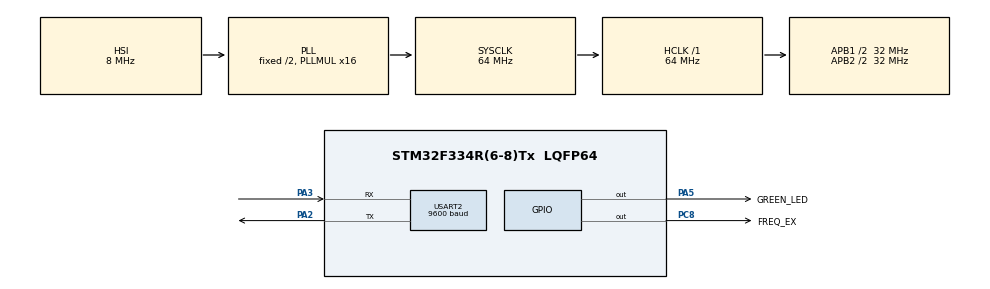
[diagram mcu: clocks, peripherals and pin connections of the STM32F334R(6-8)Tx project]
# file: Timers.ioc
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Mcu.Family=STM32F3
Mcu.Name=STM32F334R(6-8)Tx
Mcu.Package=LQFP64
NVIC.PriorityGroup=NVIC_PRIORITYGROUP_0
NVIC.TIM3_IRQn=true\:0\:0\:false\:false\:true\:true\:true\:true
PA2.Mode=Asynchronous
PA2.Signal=USART2_TX
PA3.Mode=Asynchronous
PA3.Signal=USART2_RX
PA5.GPIO_Label=GREEN_LED
PA5.Signal=GPIO_Output
PC6.Signal=S_TIM3_CH1
PC8.GPIO_Label=FREQ_EX
PC8.Signal=GPIO_Output
ProjectManager.HeapSize=0x200
ProjectManager.StackSize=0x400
ProjectManager.TargetToolchain=STM32CubeIDE
RCC.AHBFreq_Value=64000000
RCC.APB1CLKDivider=RCC_HCLK_DIV2
RCC.APB1Freq_Value=32000000
RCC.APB1TimFreq_Value=64000000
RCC.APB2CLKDivider=RCC_HCLK_DIV2
RCC.APB2Freq_Value=32000000
RCC.APB2TimFreq_Value=64000000
RCC.CortexFreq_Value=64000000
RCC.FLatency-AdvancedSettings=FLASH_LATENCY_2
RCC.HCLKFreq_Value=64000000
RCC.HSE_VALUE=8000000
RCC.HSI_VALUE=8000000
RCC.LSE_VALUE=32768
RCC.PLLMUL=RCC_PLL_MUL16
RCC.SYSCLKFreq_VALUE=64000000
RCC.SYSCLKSourceVirtual=RCC_SYSCLKSOURCE_PLLCLK
SH.S_TIM3_CH1.0=TIM3_CH1
TIM3.Channel-Output\ Compare1\ No\ Output=TIM_CHANNEL_1
TIM3.Period=31984
TIM3.Prescaler=2000
USART2.BaudRate=9600
USART2.Mode=MODE_TX_RX
USART2.OverSampling=UART_OVERSAMPLING_8
USART2.VirtualMode-Asynchronous=VM_ASYNC
VP_TIM3_VS_ClockSourceINT.Mode=Internal
VP_TIM3_VS_no_output1.Mode=Output Compare1 No Output
board=NUCLEO-F334R8

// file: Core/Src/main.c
/* USER CODE BEGIN Header */
/**
  ******************************************************************************
  * @file           : main.c
  * @brief          : Main program body
  ******************************************************************************
  * @attention
  *
  * Copyright (c) 2024 STMicroelectronics.
  * All rights reserved.
  *
  * This software is licensed under terms that can be found in the LICENSE file
  * in the root directory of this software component.
  * If no LICENSE file comes with this software, it is provided AS-IS.
  *
  ******************************************************************************
  */
/* USER CODE END Header */
#include "main.h"

/* USER CODE BEGIN Includes */
#include <stdbool.h>
/* USER CODE END Includes */

TIM_HandleTypeDef htim3;

UART_HandleTypeDef huart2;

void SystemClock_Config(void);
static void MX_GPIO_Init(void);
static void MX_USART2_UART_Init(void);
static void MX_TIM3_Init(void);

/* USER CODE BEGIN 0 */
static const char *hello_world_buffer = "B\r\n"; //01000010
static HAL_StatusTypeDef ok_notok_s = HAL_OK;
static bool flag_s = false;
/* USER CODE END 0 */

int main(void)
{

  /* MCU Configuration--------------------------------------------------------*/

  /* Reset of all peripherals, Initializes the Flash interface and the Systick. */
  HAL_Init();

  /* Configure the system clock */
  SystemClock_Config();

  /* Initialize all configured peripherals */
  MX_GPIO_Init();
  MX_USART2_UART_Init();
  MX_TIM3_Init();
  /* USER CODE BEGIN 2 */
  HAL_TIM_Base_Start_IT(&htim3);
  /* USER CODE END 2 */

  /* Infinite loop */
  while (1)
  {

    /* USER CODE BEGIN 3 */
	  // First we transmit the hello world buffer out the transmit pin of UART2.
	  if (flag_s)
	  {
		  ok_notok_s = HAL_UART_Transmit(&huart2, (uint8_t *)hello_world_buffer, 3, 100);

		  if(ok_notok_s == HAL_OK)
		  {
			  // If the UART transmission is okay then the green LED will stay off.
			  HAL_GPIO_WritePin(GREEN_LED_GPIO_Port, GREEN_LED_Pin, GPIO_PIN_RESET);
		  }
		  else
		  {
			  // If the UART transmission is not okay then the green LED will be turned on.
			  HAL_GPIO_WritePin(GREEN_LED_GPIO_Port, GREEN_LED_Pin, GPIO_PIN_SET);
		  }
		  flag_s = false;
	  }
  }
  /* USER CODE END 3 */
}

void SystemClock_Config(void)
{
  RCC_OscInitTypeDef RCC_OscInitStruct = {0};
  RCC_ClkInitTypeDef RCC_ClkInitStruct = {0};

  /** Initializes the RCC Oscillators according to the specified parameters
  * in the RCC_OscInitTypeDef structure.
  */
  RCC_OscInitStruct.OscillatorType = RCC_OSCILLATORTYPE_HSI;
  RCC_OscInitStruct.HSIState = RCC_HSI_ON;
  RCC_OscInitStruct.HSICalibrationValue = RCC_HSICALIBRATION_DEFAULT;
  RCC_OscInitStruct.PLL.PLLState = RCC_PLL_ON;
  RCC_OscInitStruct.PLL.PLLSource = RCC_PLLSOURCE_HSI;
  RCC_OscInitStruct.PLL.PLLMUL = RCC_PLL_MUL16;
  if (HAL_RCC_OscConfig(&RCC_OscInitStruct) != HAL_OK)
  {
    Error_Handler();
  }

  /** Initializes the CPU, AHB and APB buses clocks
  */
  RCC_ClkInitStruct.ClockType = RCC_CLOCKTYPE_HCLK|RCC_CLOCKTYPE_SYSCLK
                              |RCC_CLOCKTYPE_PCLK1|RCC_CLOCKTYPE_PCLK2;
  RCC_ClkInitStruct.SYSCLKSource = RCC_SYSCLKSOURCE_PLLCLK;
  RCC_ClkInitStruct.AHBCLKDivider = RCC_SYSCLK_DIV1;
  RCC_ClkInitStruct.APB1CLKDivider = RCC_HCLK_DIV2;
  RCC_ClkInitStruct.APB2CLKDivider = RCC_HCLK_DIV2;

  if (HAL_RCC_ClockConfig(&RCC_ClkInitStruct, FLASH_LATENCY_2) != HAL_OK)
  {
    Error_Handler();
  }
}

static void MX_TIM3_Init(void)
{

  TIM_ClockConfigTypeDef sClockSourceConfig = {0};
  TIM_MasterConfigTypeDef sMasterConfig = {0};
  TIM_OC_InitTypeDef sConfigOC = {0};

  htim3.Instance = TIM3;
  htim3.Init.Prescaler = 2000;
  htim3.Init.CounterMode = TIM_COUNTERMODE_UP;
  htim3.Init.Period = 31984;
  htim3.Init.ClockDivision = TIM_CLOCKDIVISION_DIV1;
  htim3.Init.AutoReloadPreload = TIM_AUTORELOAD_PRELOAD_DISABLE;
  if (HAL_TIM_Base_Init(&htim3) != HAL_OK)
  {
    Error_Handler();
  }
  sClockSourceConfig.ClockSource = TIM_CLOCKSOURCE_INTERNAL;
  if (HAL_TIM_ConfigClockSource(&htim3, &sClockSourceConfig) != HAL_OK)
  {
    Error_Handler();
  }
  if (HAL_TIM_OC_Init(&htim3) != HAL_OK)
  {
    Error_Handler();
  }
  sMasterConfig.MasterOutputTrigger = TIM_TRGO_RESET;
  sMasterConfig.MasterSlaveMode = TIM_MASTERSLAVEMODE_DISABLE;
  if (HAL_TIMEx_MasterConfigSynchronization(&htim3, &sMasterConfig) != HAL_OK)
  {
    Error_Handler();
  }
  sConfigOC.OCMode = TIM_OCMODE_TIMING;
  sConfigOC.Pulse = 0;
  sConfigOC.OCPolarity = TIM_OCPOLARITY_HIGH;
  sConfigOC.OCFastMode = TIM_OCFAST_DISABLE;
  if (HAL_TIM_OC_ConfigChannel(&htim3, &sConfigOC, TIM_CHANNEL_1) != HAL_OK)
  {
    Error_Handler();
  }

}

static void MX_USART2_UART_Init(void)
{

  huart2.Instance = USART2;
  huart2.Init.BaudRate = 9600;
  huart2.Init.WordLength = UART_WORDLENGTH_8B;
  huart2.Init.StopBits = UART_STOPBITS_1;
  huart2.Init.Parity = UART_PARITY_NONE;
  huart2.Init.Mode = UART_MODE_TX_RX;
  huart2.Init.HwFlowCtl = UART_HWCONTROL_NONE;
  huart2.Init.OverSampling = UART_OVERSAMPLING_8;
  huart2.Init.OneBitSampling = UART_ONE_BIT_SAMPLE_DISABLE;
  huart2.AdvancedInit.AdvFeatureInit = UART_ADVFEATURE_NO_INIT;
  if (HAL_UART_Init(&huart2) != HAL_OK)
  {
    Error_Handler();
  }

}

static void MX_GPIO_Init(void)
{
  GPIO_InitTypeDef GPIO_InitStruct = {0};

  /* GPIO Ports Clock Enable */
  __HAL_RCC_GPIOA_CLK_ENABLE();
  __HAL_RCC_GPIOC_CLK_ENABLE();

  /*Configure GPIO pin Output Level */
  HAL_GPIO_WritePin(GREEN_LED_GPIO_Port, GREEN_LED_Pin, GPIO_PIN_RESET);

  /*Configure GPIO pin Output Level */
  HAL_GPIO_WritePin(FREQ_EX_GPIO_Port, FREQ_EX_Pin, GPIO_PIN_RESET);

  /*Configure GPIO pin : GREEN_LED_Pin */
  GPIO_InitStruct.Pin = GREEN_LED_Pin;
  GPIO_InitStruct.Mode = GPIO_MODE_OUTPUT_PP;
  GPIO_InitStruct.Pull = GPIO_NOPULL;
  GPIO_InitStruct.Speed = GPIO_SPEED_FREQ_LOW;
  HAL_GPIO_Init(GREEN_LED_GPIO_Port, &GPIO_InitStruct);

  /*Configure GPIO pin : FREQ_EX_Pin */
  GPIO_InitStruct.Pin = FREQ_EX_Pin;
  GPIO_InitStruct.Mode = GPIO_MODE_OUTPUT_PP;
  GPIO_InitStruct.Pull = GPIO_NOPULL;
  GPIO_InitStruct.Speed = GPIO_SPEED_FREQ_LOW;
  HAL_GPIO_Init(FREQ_EX_GPIO_Port, &GPIO_InitStruct);

}

/* USER CODE BEGIN 4 */
void HAL_TIM_PeriodElapsedCallback(TIM_HandleTypeDef *htim)
{
  HAL_GPIO_TogglePin(FREQ_EX_GPIO_Port, FREQ_EX_Pin);
  flag_s = true;
}
/* USER CODE END 4 */

void Error_Handler(void)
{
  __disable_irq();
  while (1)
  {
  }
}
